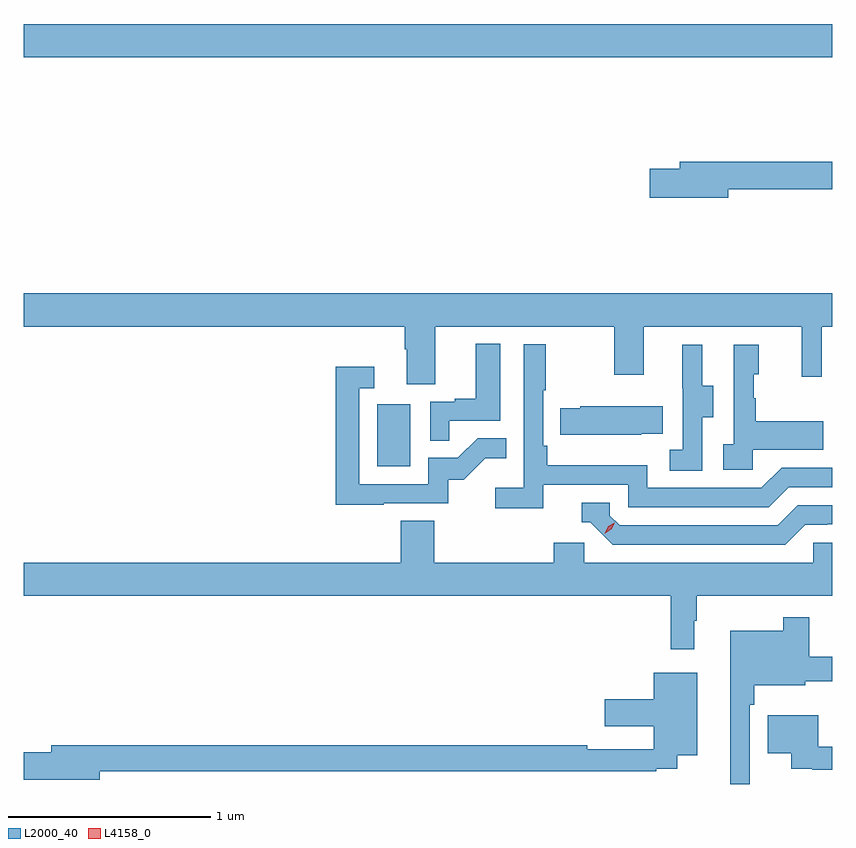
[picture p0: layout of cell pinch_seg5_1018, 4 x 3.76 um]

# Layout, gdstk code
import gdstk
lib = gdstk.Library(unit=1e-6, precision=1e-09)
def R(c, l, rs):  # rectangles x0, y0, x1, y1
    for r in rs: c.add(gdstk.rectangle(r[:2], r[2:], *l))
def P(c, l, *ps):  # polygons
    for p in ps: c.add(gdstk.Polygon(p, *l))
L2000_40 = (2000, 40)
L4158_0 = (4158, 0)

pinch_seg5_1018 = lib.new_cell('pinch_seg5_1018')
R(pinch_seg5_1018, L2000_40, [(875.498,872.052,875.662,872.359), (873.749,874.076,877.749,874.24)])
P(pinch_seg5_1018, L2000_40, [(877.234,873.424),(877.749,873.424),(877.749,873.56),(876.995,873.56),(876.995,873.524),(876.846,873.524),(876.846,873.382),(877.234,873.382)],
  [(875.785,872.744),(876.67,872.744),(876.67,872.505),(876.817,872.505),(876.817,872.744),(877.598,872.744),(877.598,872.496),(877.695,872.496),(877.695,872.744),(877.749,872.744),(877.749,872.908),(873.749,872.908),(873.749,872.744),(875.633,872.744),(875.633,872.632),(875.645,872.632),(875.645,872.458),(875.785,872.458)],
  [(875.855,872.277),(876.106,872.277),(876.106,872.659),(875.984,872.659),(875.984,872.386),(875.881,872.386),(875.881,872.373),(875.76,872.373),(875.76,872.179),(875.855,872.179)],
  [(876.32,871.962),(876.738,871.962),(876.738,871.851),(877.435,871.851),(877.534,871.95),(877.749,871.95),(877.749,872.046),(877.497,872.046),(877.398,871.947),(876.834,871.947),(876.834,872.059),(876.338,872.059),(876.338,872.155),(876.318,872.155),(876.318,872.428),(876.331,872.428),(876.331,872.656),(876.222,872.656),(876.222,871.948),(876.081,871.948),(876.081,871.846),(876.32,871.846)],
  [(877.356,872.135),(877.703,872.135),(877.703,872.275),(877.369,872.275),(877.369,872.39),(877.359,872.39),(877.359,872.508),(877.384,872.508),(877.384,872.653),(877.26,872.653),(877.26,872.162),(877.209,872.162),(877.209,872.037),(877.356,872.037)],
  [(877.104,872.296),(877.159,872.296),(877.159,872.451),(877.105,872.451),(877.105,872.653),(877.007,872.653),(877.007,872.439),(877.008,872.439),(877.008,872.135),(876.945,872.135),(876.945,872.032),(877.104,872.032)],
  [(875.531,871.869),(875.85,871.869),(875.85,871.986),(875.926,871.986),(876.033,872.093),(876.137,872.093),(876.137,872.192),(875.994,872.192),(875.896,872.094),(875.751,872.094),(875.751,871.965),(875.409,871.965),(875.409,872.439),(875.482,872.439),(875.482,872.545),(875.293,872.545),(875.293,871.864),(875.531,871.864)],
  [(876.803,872.213),(876.911,872.213),(876.911,872.35),(876.501,872.35),(876.501,872.34),(876.403,872.34),(876.403,872.21),(876.803,872.21)],
  [(877.615,871.764),(877.722,871.764),(877.722,871.767),(877.749,871.767),(877.749,871.86),(877.578,871.86),(877.479,871.761),(876.696,871.761),(876.648,871.809),(876.648,871.872),(876.509,871.872),(876.509,871.776),(876.552,871.776),(876.663,871.665),(877.516,871.665)],
  [(877.066,871.289),(877.078,871.289),(877.078,871.412),(877.749,871.412),(877.749,871.674),(877.653,871.674),(877.653,871.576),(876.522,871.576),(876.522,871.674),(876.371,871.674),(876.371,871.576),(875.78,871.576),(875.78,871.784),(875.615,871.784),(875.615,871.576),(873.749,871.576),(873.749,871.412),(876.949,871.412),(876.949,871.149),(877.066,871.149)],
  [(877.341,870.875),(877.361,870.875),(877.361,870.971),(877.615,870.971),(877.615,870.99),(877.749,870.99),(877.749,871.111),(877.634,871.111),(877.634,871.306),(877.506,871.306),(877.506,871.24),(877.244,871.24),(877.244,870.482),(877.341,870.482)],
  [(874.126,870.546),(876.878,870.546),(876.878,870.558),(876.982,870.558),(876.982,870.623),(877.081,870.623),(877.081,871.033),(876.866,871.033),(876.866,870.902),(876.624,870.902),(876.624,870.767),(876.866,870.767),(876.866,870.654),(876.536,870.654),(876.536,870.674),(873.887,870.674),(873.887,870.638),(873.749,870.638),(873.749,870.503),(874.126,870.503)],
  [(877.749,870.667),(877.679,870.667),(877.679,870.823),(877.43,870.823),(877.43,870.635),(877.544,870.635),(877.544,870.558),(877.648,870.558),(877.648,870.552),(877.749,870.552)])
P(pinch_seg5_1018, L4158_0, [(876.624,871.723),(876.624,871.723),(876.641,871.756),(876.672,871.775),(876.673,871.775),(876.673,871.774),(876.656,871.742),(876.625,871.723)])

lib.write_gds('pinch_seg5_1018.gds')
